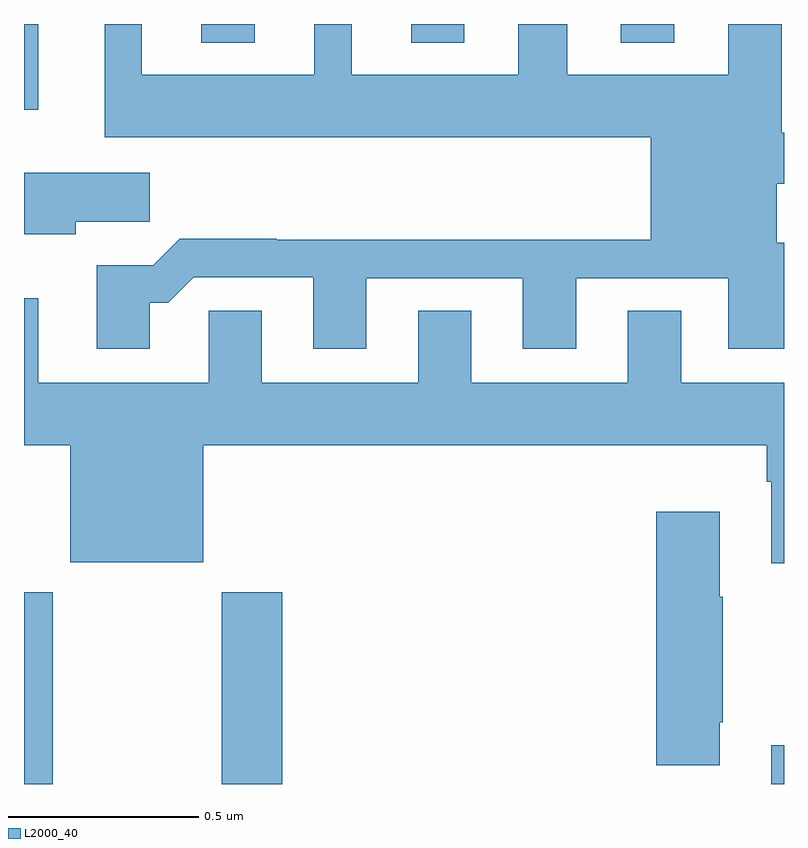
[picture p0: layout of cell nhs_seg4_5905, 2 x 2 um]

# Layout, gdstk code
import gdstk
lib = gdstk.Library(unit=1e-6, precision=1e-09)
def R(c, l, rs):  # rectangles x0, y0, x1, y1
    for r in rs: c.add(gdstk.rectangle(r[:2], r[2:], *l))
def A(c, l, x, y, w, h, nx, ny, dx, dy):  # array of equal rectangles
    R(c, l, [(x+i*dx, y+j*dy, x+i*dx+w, y+j*dy+h) for i in range(nx) for j in range(ny)])
def P(c, l, *ps):  # polygons
    for p in ps: c.add(gdstk.Polygon(p, *l))
L2000_40 = (2000, 40)

nhs_seg4_5905 = lib.new_cell('nhs_seg4_5905')
A(nhs_seg4_5905, L2000_40, 183.467, 825.851, 0.14, 0.049, 3, 1, 0.552, 0)
R(nhs_seg4_5905, L2000_40, [(183,823.9,183.075,824.404), (183.52,823.9,183.68,824.404), (184.967,823.9,185,824.002), (183,825.675,183.037,825.9)])
P(nhs_seg4_5905, L2000_40, [(183.331,825.167),(183.38,825.167),(183.447,825.234),(183.761,825.234),(183.761,825.045),(183.901,825.045),(183.901,825.231),(184.313,825.231),(184.313,825.045),(184.453,825.045),(184.453,825.231),(184.853,825.231),(184.853,825.045),(185,825.045),(185,825.324),(184.981,825.324),(184.981,825.479),(185,825.479),(185,825.614),(184.994,825.614),(184.994,825.9),(184.853,825.9),(184.853,825.766),(184.429,825.766),(184.429,825.9),(184.301,825.9),(184.301,825.766),(183.862,825.766),(183.862,825.9),(183.764,825.9),(183.764,825.766),(183.31,825.766),(183.31,825.9),(183.212,825.9),(183.212,825.602),(184.649,825.602),(184.649,825.332),(183.665,825.332),(183.665,825.335),(183.41,825.335),(183.34,825.265),(183.191,825.265),(183.191,825.045),(183.331,825.045)],
  [(183.136,825.379),(183.331,825.379),(183.331,825.508),(183,825.508),(183,825.347),(183.136,825.347)],
  [(185,824.956),(184.729,824.956),(184.729,825.146),(184.589,825.146),(184.589,824.956),(184.177,824.956),(184.177,825.146),(184.037,825.146),(184.037,824.956),(183.625,824.956),(183.625,825.146),(183.486,825.146),(183.486,824.956),(183.037,824.956),(183.037,825.178),(183,825.178),(183,824.792),(183.122,824.792),(183.122,824.483),(183.472,824.483),(183.472,824.792),(184.955,824.792),(184.955,824.696),(184.967,824.696),(184.967,824.481),(185,824.481)],
  [(184.831,824.062),(184.839,824.062),(184.839,824.393),(184.831,824.393),(184.831,824.617),(184.664,824.617),(184.664,823.95),(184.831,823.95)])

lib.write_gds('nhs_seg4_5905.gds')
